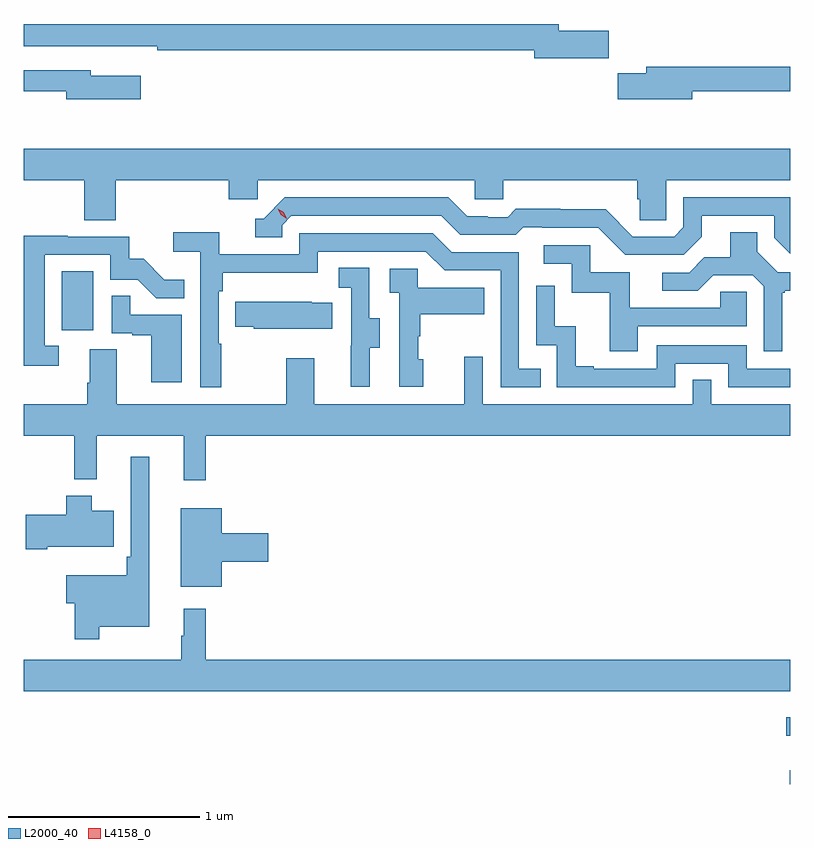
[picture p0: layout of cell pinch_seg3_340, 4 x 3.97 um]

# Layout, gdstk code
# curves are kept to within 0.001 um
import gdstk
lib = gdstk.Library(unit=1e-6, precision=1e-09)
def R(c, l, rs):  # rectangles x0, y0, x1, y1
    for r in rs: c.add(gdstk.rectangle(r[:2], r[2:], *l))
def P(c, l, *ps):  # polygons
    for p in ps: c.add(gdstk.Polygon(p, *l))
L2000_40 = (2000, 40)
L4158_0 = (4158, 0)

pinch_seg3_340 = lib.new_cell('pinch_seg3_340')
R(pinch_seg3_340, L2000_40, [(972.758,716.415,972.762,716.488), (972.741,716.667,972.762,716.764), (968.96,718.782,969.124,719.089)])
P(pinch_seg3_340, L2000_40, [(971.815,720.344),(971.554,720.344),(971.554,720.38),(968.762,720.38),(968.762,720.264),(969.208,720.264),(969.208,720.263),(969.46,720.263),(969.46,720.244),(971.426,720.244),(971.426,720.202),(971.815,720.202)],
  [(972.25,720.03),(972.762,720.03),(972.762,720.158),(972.011,720.158),(972.011,720.122),(971.862,720.122),(971.862,719.987),(972.25,719.987)],
  [(969.373,720.109),(969.112,720.109),(969.112,720.138),(968.762,720.138),(968.762,720.03),(968.984,720.03),(968.984,719.987),(969.373,719.987)],
  [(969.242,719.564),(969.833,719.564),(969.833,719.466),(969.984,719.466),(969.984,719.564),(971.115,719.564),(971.115,719.466),(971.265,719.466),(971.265,719.564),(971.963,719.564),(971.963,719.466),(971.977,719.466),(971.977,719.356),(972.114,719.356),(972.114,719.564),(972.762,719.564),(972.762,719.728),(968.762,719.728),(968.762,719.564),(969.077,719.564),(969.077,719.356),(969.242,719.356)],
  [(972.301,719.269),(972.301,719.379),(972.678,719.379),(972.678,719.265),(972.762,719.181),(972.762,719.475),(972.204,719.475),(972.204,719.319),(972.156,719.271),(971.94,719.271),(971.798,719.413),(971.562,719.413),(971.562,719.416),(971.329,719.416),(971.287,719.373),(971.184,719.373),(971.184,719.376),(971.077,719.376),(970.978,719.475),(970.125,719.475),(970.014,719.364),(969.971,719.364),(969.971,719.268),(970.11,719.268),(970.11,719.331),(970.158,719.379),(970.941,719.379),(971.04,719.28),(971.329,719.28),(971.368,719.319),(971.467,719.319),(971.467,719.316),(971.76,719.316),(971.901,719.175),(972.207,719.175)],
  [(969.793,718.712),(969.78,718.712),(969.78,718.985),(969.8,718.985),(969.8,719.081),(970.296,719.081),(970.296,719.193),(970.86,719.193),(970.959,719.094),(971.25,719.094),(971.25,718.485),(971.459,718.485),(971.459,718.581),(971.346,718.581),(971.346,719.19),(970.996,719.19),(970.897,719.289),(970.2,719.289),(970.2,719.178),(969.782,719.178),(969.782,719.294),(969.543,719.294),(969.543,719.192),(969.684,719.192),(969.684,718.485),(969.793,718.485)],
  [(972.721,718.977),(972.733,718.977),(972.733,718.988),(972.762,718.988),(972.762,719.085),(972.696,719.085),(972.589,719.192),(972.589,719.294),(972.449,719.294),(972.449,719.162),(972.314,719.162),(972.234,719.082),(972.093,719.082),(972.093,718.989),(972.28,718.989),(972.361,719.07),(972.567,719.07),(972.624,719.013),(972.624,718.674),(972.721,718.674)],
  [(968.944,718.701),(968.871,718.701),(968.871,719.175),(969.213,719.175),(969.213,719.046),(969.357,719.046),(969.455,718.948),(969.599,718.948),(969.599,719.047),(969.495,719.047),(969.388,719.154),(969.312,719.154),(969.312,719.271),(968.993,719.271),(968.993,719.276),(968.762,719.276),(968.763,718.596),(968.944,718.596)],
  [(971.965,718.803),(972.534,718.803),(972.534,718.983),(972.397,718.983),(972.397,718.899),(971.923,718.899),(971.923,719.085),(971.718,719.085),(971.718,719.226),(971.475,719.226),(971.475,719.13),(971.622,719.13),(971.622,718.977),(971.821,718.977),(971.821,718.674),(971.965,718.674)],
  [(970.567,718.69),(970.621,718.69),(970.621,718.845),(970.566,718.845),(970.566,719.108),(970.407,719.108),(970.407,719.005),(970.47,719.005),(970.47,718.701),(970.469,718.701),(970.469,718.488),(970.567,718.488)],
  [(970.846,718.632),(970.821,718.632),(970.821,718.751),(970.831,718.751),(970.831,718.865),(971.165,718.865),(971.165,719.005),(970.818,719.005),(970.818,719.103),(970.671,719.103),(970.671,718.979),(970.722,718.979),(970.722,718.488),(970.846,718.488)],
  [(972.162,718.608),(972.438,718.608),(972.438,718.485),(972.762,718.485),(972.762,718.581),(972.534,718.581),(972.534,718.704),(972.066,718.704),(972.066,718.581),(971.737,718.581),(971.737,718.594),(971.642,718.594),(971.642,718.802),(971.532,718.802),(971.532,719.014),(971.436,719.014),(971.436,718.704),(971.544,718.704),(971.544,718.485),(972.162,718.485)],
  [(969.586,718.863),(969.317,718.863),(969.317,718.961),(969.222,718.961),(969.222,718.767),(969.329,718.767),(969.329,718.755),(969.428,718.755),(969.428,718.512),(969.586,718.512)],
  [(970.373,718.927),(970.265,718.927),(970.265,718.93),(969.865,718.93),(969.865,718.801),(969.963,718.801),(969.963,718.79),(970.373,718.79)],
  [(969.247,718.682),(969.107,718.682),(969.107,718.508),(969.095,718.508),(969.095,718.396),(968.762,718.396),(968.762,718.232),(969.025,718.232),(969.025,718.004),(969.143,718.004),(969.143,718.232),(969.596,718.232),(969.596,717.999),(969.713,717.999),(969.713,718.232),(972.762,718.232),(972.762,718.396),(972.348,718.396),(972.348,718.523),(972.252,718.523),(972.252,718.396),(971.157,718.396),(971.157,718.645),(971.06,718.645),(971.06,718.396),(970.279,718.396),(970.279,718.636),(970.132,718.636),(970.132,718.396),(969.247,718.396)],
  [(969.157,717.236),(969.418,717.236),(969.418,718.123),(969.321,718.123),(969.321,717.601),(969.301,717.601),(969.301,717.505),(968.984,717.505),(968.984,717.358),(969.028,717.358),(969.028,717.171),(969.157,717.171)],
  [(968.884,717.653),(969.232,717.653),(969.232,717.841),(969.118,717.841),(969.118,717.919),(968.984,717.919),(968.984,717.819),(968.772,717.819),(968.772,717.641),(968.884,717.641)],
  [(969.796,717.575),(970.039,717.575),(970.039,717.722),(969.796,717.722),(969.796,717.853),(969.581,717.853),(969.581,717.443),(969.796,717.443)],
  [(972.762,717.064),(969.713,717.064),(969.713,717.328),(969.596,717.328),(969.596,717.188),(969.585,717.188),(969.585,717.064),(968.762,717.064),(968.762,716.9),(972.762,716.9)])
P(pinch_seg3_340, L4158_0, [(970.134,719.365),(970.103,719.384),(970.087,719.417),(970.087,719.417),(970.087,719.417),(970.118,719.398),(970.135,719.366),(970.135,719.365)])

lib.write_gds('pinch_seg3_340.gds')
